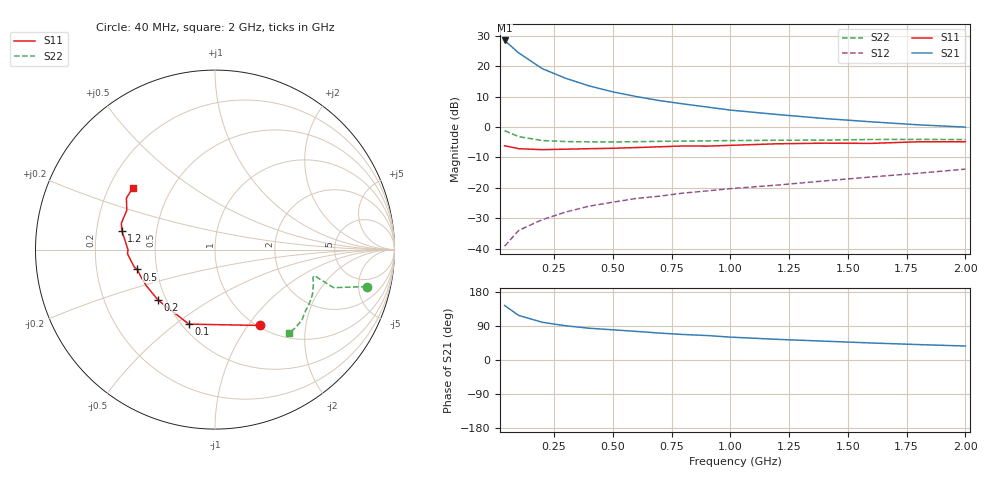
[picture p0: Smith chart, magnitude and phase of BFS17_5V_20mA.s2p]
! Filename:  BFS17E.S2P  Version:  2.0
! Philips part #: BFS17  Date: Jun 1990
! Bias condition: Vce=5V, Ic=20mA
#  MHz  S  MA  R  50
! Freq  S11  S21  S12  S22  !GUM [dB]
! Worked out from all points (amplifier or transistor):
!   16 points, 40 MHz to 2 GHz, reference 50 ohm
!   highest |S21| = 28.4 dB at 40 MHz (marker M1)
!   |S21| within 3 dB of that: start of sweep to 83.87 MHz
!   unconditionally stable (mu >= 1): 292.2 MHz to 1.398 GHz
!   at 200 MHz: K = 0.92, MSG = 24.8 dB, |S12| = -30.5 dB
!   at 800 MHz: K = 1.11, MAG = 12.6 dB, |S12| = -21.7 dB
!   at 2 GHz: K = 0.80, MSG = 6.9 dB, |S12| = -13.9 dB
!   S11 on the Smith chart (normalised r, x): 40 MHz: 1.03, -1.14; 100 MHz: 0.54, -0.56; 200 MHz: 0.45, -0.31; 500 MHz: 0.39, -0.11; 1.2 GHz: 0.31, +0.09; 2 GHz: 0.30, +0.31
40  0.492 -59.2  26.43 143.8  0.011 67.1  0.87 -13.7
100  0.44 -109.3  16.48 117.6  0.02 58.2  0.694 -17.8
200  0.424 -138.4  9.104 99.6  0.03 62.6  0.599 -15.5
300  0.432 -151.9  6.309 90.3  0.04 65.0  0.576 -14.7
400  0.44 -160.1  4.727 83.8  0.05 67.4  0.57 -14.9
500  0.447 -165.7  3.782 79.7  0.058 68.7  0.568 -16.3
600  0.459 -167.5  3.164 75.5  0.067 68.6  0.574 -17.4
700  0.473 -172.6  2.713 71.0  0.073 69.8  0.581 -19.4
800  0.488 -177.3  2.394 67.3  0.082 71.6  0.586 -21.1
900  0.485 180.0  2.13 64.6  0.089 72.8  0.592 -22.9
1000  0.499 175.5  1.896 60.4  0.097 74.2  0.598 -24.9
1200  0.53 168.5  1.604 54.5  0.111 77.5  0.605 -29.3
1400  0.542 164.3  1.378 49.7  0.13 80.0  0.609 -34.1
1600  0.538 156.0  1.216 44.9  0.151 83.3  0.623 -38.9
1800  0.571 149.8  1.085 40.7  0.174 84.6  0.625 -43.9
2000  0.573 142.9  0.996 36.9  0.203 85.0  0.622 -48.7
